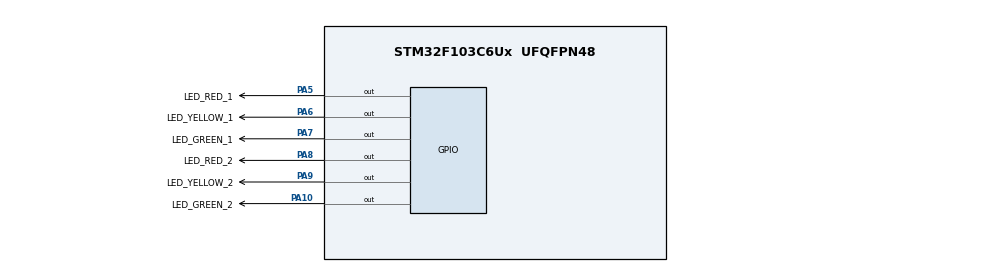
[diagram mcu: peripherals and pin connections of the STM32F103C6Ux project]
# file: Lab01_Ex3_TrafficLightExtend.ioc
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Mcu.Family=STM32F1
Mcu.Name=STM32F103C6Ux
Mcu.Package=UFQFPN48
NVIC.PriorityGroup=NVIC_PRIORITYGROUP_4
PA10.GPIO_Label=LED_GREEN_2
PA10.Signal=GPIO_Output
PA5.GPIO_Label=LED_RED_1
PA5.Signal=GPIO_Output
PA6.GPIO_Label=LED_YELLOW_1
PA6.Signal=GPIO_Output
PA7.GPIO_Label=LED_GREEN_1
PA7.Signal=GPIO_Output
PA8.GPIO_Label=LED_RED_2
PA8.Signal=GPIO_Output
PA9.GPIO_Label=LED_YELLOW_2
PA9.Signal=GPIO_Output
ProjectManager.HeapSize=0x200
ProjectManager.StackSize=0x400
ProjectManager.TargetToolchain=STM32CubeIDE
RCC.APB1Freq_Value=8000000
RCC.APB2Freq_Value=8000000
VP_SYS_VS_ND.Mode=No_Debug
board=custom

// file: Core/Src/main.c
/* USER CODE BEGIN Header */
/**
  ******************************************************************************
  * @file           : main.c
  * @brief          : Main program body
  ******************************************************************************
  * @attention
  *
  * <h2><center>&copy; Copyright (c) 2022 STMicroelectronics.
  * All rights reserved.</center></h2>
  *
  * This software component is licensed by ST under BSD 3-Clause license,
  * the "License"; You may not use this file except in compliance with the
  * License. You may obtain a copy of the License at:
  *                        opensource.org/licenses/BSD-3-Clause
  *
  ******************************************************************************
  */
/* USER CODE END Header */
#include "main.h"

void SystemClock_Config(void);
static void MX_GPIO_Init(void);

int main(void)
{

  /* MCU Configuration--------------------------------------------------------*/

  /* Reset of all peripherals, Initializes the Flash interface and the Systick. */
  HAL_Init();

  /* Configure the system clock */
  SystemClock_Config();

  /* Initialize all configured peripherals */
  MX_GPIO_Init();
  /* USER CODE BEGIN 2 */
  int led_stat_1 = 0, led_stat_2 = 2; //0: turn GREEN on, 1: turn YELLOW on, 2: turn RED on
  int counter_1 = 0, counter_2 = 0; //counter for each traffic light
  const int counter_lst[3] = {3, 2, 5}; //(3: GREEN stays, 2: YELLOW stays, 5: RED stays) * 1000ms
  /* USER CODE END 2 */
  /* Infinite loop */
  while (1)
  {
	  /* USER CODE BEGIN 3 */
	  if (counter_1==0){ // Check first traffic light
	  	  counter_1 = counter_lst[led_stat_1]; //set counter base on current led state
		  switch(led_stat_1){
		  	  case 0:{ //turn GREEN on
		  		  led_stat_1 = 1;
		  		  HAL_GPIO_WritePin(GPIOA, LED_GREEN_1_Pin, 0);
		  		  HAL_GPIO_WritePin(GPIOA, LED_YELLOW_1_Pin | LED_RED_1_Pin, 1);
		  		  break;
		  	  }
		  	  case 1:{ //turn YELLOW on
		  		  led_stat_1 = 2;
		  		  HAL_GPIO_WritePin(GPIOA, LED_YELLOW_1_Pin, 0);
		  		  HAL_GPIO_WritePin(GPIOA, LED_RED_1_Pin | LED_GREEN_1_Pin, 1);
		  		  break;
		  	  }
		  	  case 2:{ //turn RED on
		  		  led_stat_1 = 0;
		  		  HAL_GPIO_WritePin(GPIOA, LED_RED_1_Pin, 0);
		  		  HAL_GPIO_WritePin(GPIOA, LED_GREEN_1_Pin | LED_YELLOW_1_Pin, 1);
		  		  break;
		  	  }
		  }
	  }
	  if (counter_2==0){ // Check second traffic light
		  counter_2 = counter_lst[led_stat_2]; //set counter base on current led state
		  switch(led_stat_2){
			  case 0:{ //turn GREEN on
				  led_stat_2 = 1;
				  HAL_GPIO_WritePin(GPIOA, LED_GREEN_2_Pin, 0);
				  HAL_GPIO_WritePin(GPIOA, LED_YELLOW_2_Pin | LED_RED_2_Pin, 1);
				  break;
			  }
			  case 1:{ //turn YELLOW on
				  led_stat_2 = 2;
				  HAL_GPIO_WritePin(GPIOA, LED_YELLOW_2_Pin, 0);
				  HAL_GPIO_WritePin(GPIOA, LED_RED_2_Pin | LED_GREEN_2_Pin, 1);
				  break;
			  }
			  case 2:{ //turn RED on
				  led_stat_2 = 0;
				  HAL_GPIO_WritePin(GPIOA, LED_RED_2_Pin, 0);
				  HAL_GPIO_WritePin(GPIOA, LED_GREEN_2_Pin | LED_YELLOW_2_Pin, 1);
				  break;
			  }
		  }
	  }
	  counter_1--; counter_2--;
	  HAL_Delay(1000);
  }
  /* USER CODE END 3 */
}

void SystemClock_Config(void)
{
  RCC_OscInitTypeDef RCC_OscInitStruct = {0};
  RCC_ClkInitTypeDef RCC_ClkInitStruct = {0};

  /** Initializes the RCC Oscillators according to the specified parameters
  * in the RCC_OscInitTypeDef structure.
  */
  RCC_OscInitStruct.OscillatorType = RCC_OSCILLATORTYPE_HSI;
  RCC_OscInitStruct.HSIState = RCC_HSI_ON;
  RCC_OscInitStruct.HSICalibrationValue = RCC_HSICALIBRATION_DEFAULT;
  RCC_OscInitStruct.PLL.PLLState = RCC_PLL_NONE;
  if (HAL_RCC_OscConfig(&RCC_OscInitStruct) != HAL_OK)
  {
    Error_Handler();
  }
  /** Initializes the CPU, AHB and APB buses clocks
  */
  RCC_ClkInitStruct.ClockType = RCC_CLOCKTYPE_HCLK|RCC_CLOCKTYPE_SYSCLK
                              |RCC_CLOCKTYPE_PCLK1|RCC_CLOCKTYPE_PCLK2;
  RCC_ClkInitStruct.SYSCLKSource = RCC_SYSCLKSOURCE_HSI;
  RCC_ClkInitStruct.AHBCLKDivider = RCC_SYSCLK_DIV1;
  RCC_ClkInitStruct.APB1CLKDivider = RCC_HCLK_DIV1;
  RCC_ClkInitStruct.APB2CLKDivider = RCC_HCLK_DIV1;

  if (HAL_RCC_ClockConfig(&RCC_ClkInitStruct, FLASH_LATENCY_0) != HAL_OK)
  {
    Error_Handler();
  }
}

static void MX_GPIO_Init(void)
{
  GPIO_InitTypeDef GPIO_InitStruct = {0};

  /* GPIO Ports Clock Enable */
  __HAL_RCC_GPIOA_CLK_ENABLE();

  /*Configure GPIO pin Output Level */
  HAL_GPIO_WritePin(GPIOA, LED_RED_1_Pin|LED_YELLOW_1_Pin|LED_GREEN_1_Pin|LED_RED_2_Pin
                          |LED_YELLOW_2_Pin|LED_GREEN_2_Pin, GPIO_PIN_RESET);

  /*Configure GPIO pins : LED_RED_1_Pin LED_YELLOW_1_Pin LED_GREEN_1_Pin LED_RED_2_Pin
                           LED_YELLOW_2_Pin LED_GREEN_2_Pin */
  GPIO_InitStruct.Pin = LED_RED_1_Pin|LED_YELLOW_1_Pin|LED_GREEN_1_Pin|LED_RED_2_Pin
                          |LED_YELLOW_2_Pin|LED_GREEN_2_Pin;
  GPIO_InitStruct.Mode = GPIO_MODE_OUTPUT_PP;
  GPIO_InitStruct.Pull = GPIO_NOPULL;
  GPIO_InitStruct.Speed = GPIO_SPEED_FREQ_LOW;
  HAL_GPIO_Init(GPIOA, &GPIO_InitStruct);

}

void Error_Handler(void)
{
  __disable_irq();
  while (1)
  {
  }
}

/************************ (C) COPYRIGHT STMicroelectronics *****END OF FILE****/
